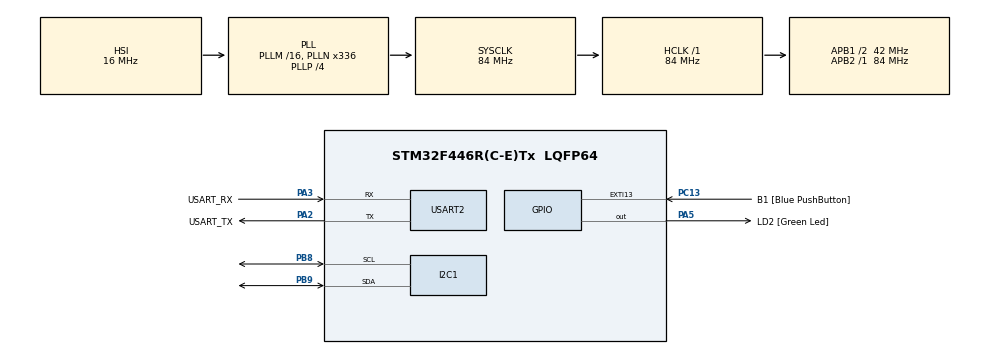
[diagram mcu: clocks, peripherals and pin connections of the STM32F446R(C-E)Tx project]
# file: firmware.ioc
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Mcu.Family=STM32F4
Mcu.Name=STM32F446R(C-E)Tx
Mcu.Package=LQFP64
NVIC.PriorityGroup=NVIC_PRIORITYGROUP_0
NVIC.TIM2_IRQn=true\:0\:0\:false\:false\:true\:true\:true\:true
PA13.GPIO_Label=TMS
PA13.Signal=SYS_JTMS-SWDIO
PA14.GPIO_Label=TCK
PA14.Signal=SYS_JTCK-SWCLK
PA2.GPIO_Label=USART_TX
PA2.Mode=Asynchronous
PA2.Signal=USART2_TX
PA3.GPIO_Label=USART_RX
PA3.Mode=Asynchronous
PA3.Signal=USART2_RX
PA5.GPIO_Label=LD2 [Green Led]
PA5.Signal=GPIO_Output
PB3.GPIO_Label=SWO
PB3.Signal=SYS_JTDO-SWO
PB8.Mode=I2C
PB8.Signal=I2C1_SCL
PB9.Mode=I2C
PB9.Signal=I2C1_SDA
PC13.GPIO_Label=B1 [Blue PushButton]
PC13.GPIO_ModeDefaultEXTI=GPIO_MODE_IT_FALLING
PC13.Signal=GPXTI13
PC14-OSC32_IN.Signal=RCC_OSC32_IN
PC15-OSC32_OUT.Signal=RCC_OSC32_OUT
PH0-OSC_IN.Signal=RCC_OSC_IN
PH1-OSC_OUT.Signal=RCC_OSC_OUT
ProjectManager.HeapSize=0x200
ProjectManager.StackSize=0x400
ProjectManager.TargetToolchain=STM32CubeIDE
RCC.AHBFreq_Value=84000000
RCC.APB1CLKDivider=RCC_HCLK_DIV2
RCC.APB1Freq_Value=42000000
RCC.APB1TimFreq_Value=84000000
RCC.APB2Freq_Value=84000000
RCC.APB2TimFreq_Value=84000000
RCC.CortexFreq_Value=84000000
RCC.FLatency-AdvancedSettings=FLASH_LATENCY_2
RCC.HCLKFreq_Value=84000000
RCC.HSE_VALUE=8000000
RCC.HSI_VALUE=16000000
RCC.LSE_VALUE=32768
RCC.PLLN=336
RCC.PLLP=RCC_PLLP_DIV4
RCC.SYSCLKFreq_VALUE=84000000
RCC.SYSCLKSource=RCC_SYSCLKSOURCE_PLLCLK
RCC.USBFreq_Value=168000000
RCC.VCOOutputFreq_Value=336000000
TIM2.Period=9999
TIM2.Prescaler=8399
USART2.VirtualMode=VM_ASYNC
VP_TIM2_VS_ClockSourceINT.Mode=Internal
board=NUCLEO-F446RE

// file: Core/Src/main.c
/* USER CODE BEGIN Header */
/**
  ******************************************************************************
  * @file           : main.c
  * @brief          : Main program body
  ******************************************************************************
  * @attention
  *
  * Copyright (c) 2026 STMicroelectronics.
  * All rights reserved.
  *
  * This software is licensed under terms that can be found in the LICENSE file
  * in the root directory of this software component.
  * If no LICENSE file comes with this software, it is provided AS-IS.
  *
  ******************************************************************************
  */
/* USER CODE END Header */
#include "main.h"

/* USER CODE BEGIN Includes */
#include "bmp280.h"
#include <stdio.h>
#include "aht20.h"
/* USER CODE END Includes */

I2C_HandleTypeDef hi2c1;

TIM_HandleTypeDef htim2;

UART_HandleTypeDef huart2;

/* USER CODE BEGIN PV */
volatile uint8_t tick_flag = 0;
uint32_t uptime = 0;
/* USER CODE END PV */

void SystemClock_Config(void);
static void MX_GPIO_Init(void);
static void MX_USART2_UART_Init(void);
static void MX_TIM2_Init(void);
static void MX_I2C1_Init(void);

/* USER CODE BEGIN 0 */
void uart_send_string(const char *s)
{
    while (*s != '\0')
    {
        while (!(USART2->SR & USART_SR_TXE))
        {
        }
        USART2->DR = *s;
        s++;
    }
}
/* USER CODE END 0 */

int main(void)
{

  /* MCU Configuration--------------------------------------------------------*/

  /* Reset of all peripherals, Initializes the Flash interface and the Systick. */
  HAL_Init();

  /* Configure the system clock */
  SystemClock_Config();

  /* Initialize all configured peripherals */
  MX_GPIO_Init();
  MX_USART2_UART_Init();
  MX_TIM2_Init();
  MX_I2C1_Init();
  /* USER CODE BEGIN 2 */
  /* USER CODE BEGIN 2 */
  HAL_TIM_Base_Start_IT(&htim2);

  if (BMP280_Init(&hi2c1) == HAL_OK) uart_send_string("BMP280 init OK\r\n");
  else uart_send_string("BMP280 init FAILED\r\n");

  if (AHT20_Init(&hi2c1) == HAL_OK) uart_send_string("AHT20 init OK\r\n");
  else uart_send_string("AHT20 init FAILED\r\n");
  /* USER CODE END 2 */

  /* Infinite loop */
  while (1)
  {

    /* USER CODE BEGIN 3 */
	  /* USER CODE BEGIN 3 */
	  if (tick_flag)
	  {
	      tick_flag = 0;
	      uptime++;
	      HAL_GPIO_TogglePin(GPIOA, GPIO_PIN_5);

	      int32_t rawT, rawP, at, ah;
	      char line[96];

	      if (BMP280_ReadRaw(&hi2c1, &rawT, &rawP) == HAL_OK &&
	          AHT20_Read(&hi2c1, &at, &ah) == HAL_OK)
	      {
	          int32_t bt = BMP280_CompensateTemp(rawT);          // must come before pressure
	          uint32_t pa = BMP280_CompensatePress(rawP) / 256;  // Pa

	          snprintf(line, sizeof(line),
	                   "T=%ld.%02ld C  H=%ld.%ld %%  P=%lu.%lu hPa  (BMP T=%ld.%02ld C)\r\n",
	                   (long)(at / 100), (long)(at % 100),
	                   (long)(ah / 100), (long)((ah % 100) / 10),
	                   (unsigned long)(pa / 100), (unsigned long)((pa % 100) / 10),
	                   (long)(bt / 100), (long)(bt % 100));
	      }
	      else
	      {
	          snprintf(line, sizeof(line), "sensor read FAILED\r\n");
	      }
	      uart_send_string(line);
	  }
	  /* USER CODE END 3 */

  }
  /* USER CODE END 3 */
}

void SystemClock_Config(void)
{
  RCC_OscInitTypeDef RCC_OscInitStruct = {0};
  RCC_ClkInitTypeDef RCC_ClkInitStruct = {0};

  /** Configure the main internal regulator output voltage
  */
  __HAL_RCC_PWR_CLK_ENABLE();
  __HAL_PWR_VOLTAGESCALING_CONFIG(PWR_REGULATOR_VOLTAGE_SCALE3);

  /** Initializes the RCC Oscillators according to the specified parameters
  * in the RCC_OscInitTypeDef structure.
  */
  RCC_OscInitStruct.OscillatorType = RCC_OSCILLATORTYPE_HSI;
  RCC_OscInitStruct.HSIState = RCC_HSI_ON;
  RCC_OscInitStruct.HSICalibrationValue = RCC_HSICALIBRATION_DEFAULT;
  RCC_OscInitStruct.PLL.PLLState = RCC_PLL_ON;
  RCC_OscInitStruct.PLL.PLLSource = RCC_PLLSOURCE_HSI;
  RCC_OscInitStruct.PLL.PLLM = 16;
  RCC_OscInitStruct.PLL.PLLN = 336;
  RCC_OscInitStruct.PLL.PLLP = RCC_PLLP_DIV4;
  RCC_OscInitStruct.PLL.PLLQ = 2;
  RCC_OscInitStruct.PLL.PLLR = 2;
  if (HAL_RCC_OscConfig(&RCC_OscInitStruct) != HAL_OK)
  {
    Error_Handler();
  }

  /** Initializes the CPU, AHB and APB buses clocks
  */
  RCC_ClkInitStruct.ClockType = RCC_CLOCKTYPE_HCLK|RCC_CLOCKTYPE_SYSCLK
                              |RCC_CLOCKTYPE_PCLK1|RCC_CLOCKTYPE_PCLK2;
  RCC_ClkInitStruct.SYSCLKSource = RCC_SYSCLKSOURCE_PLLCLK;
  RCC_ClkInitStruct.AHBCLKDivider = RCC_SYSCLK_DIV1;
  RCC_ClkInitStruct.APB1CLKDivider = RCC_HCLK_DIV2;
  RCC_ClkInitStruct.APB2CLKDivider = RCC_HCLK_DIV1;

  if (HAL_RCC_ClockConfig(&RCC_ClkInitStruct, FLASH_LATENCY_2) != HAL_OK)
  {
    Error_Handler();
  }
}

static void MX_I2C1_Init(void)
{

  hi2c1.Instance = I2C1;
  hi2c1.Init.ClockSpeed = 100000;
  hi2c1.Init.DutyCycle = I2C_DUTYCYCLE_2;
  hi2c1.Init.OwnAddress1 = 0;
  hi2c1.Init.AddressingMode = I2C_ADDRESSINGMODE_7BIT;
  hi2c1.Init.DualAddressMode = I2C_DUALADDRESS_DISABLE;
  hi2c1.Init.OwnAddress2 = 0;
  hi2c1.Init.GeneralCallMode = I2C_GENERALCALL_DISABLE;
  hi2c1.Init.NoStretchMode = I2C_NOSTRETCH_DISABLE;
  if (HAL_I2C_Init(&hi2c1) != HAL_OK)
  {
    Error_Handler();
  }

}

static void MX_TIM2_Init(void)
{

  TIM_ClockConfigTypeDef sClockSourceConfig = {0};
  TIM_MasterConfigTypeDef sMasterConfig = {0};

  htim2.Instance = TIM2;
  htim2.Init.Prescaler = 8399;
  htim2.Init.CounterMode = TIM_COUNTERMODE_UP;
  htim2.Init.Period = 9999;
  htim2.Init.ClockDivision = TIM_CLOCKDIVISION_DIV1;
  htim2.Init.AutoReloadPreload = TIM_AUTORELOAD_PRELOAD_DISABLE;
  if (HAL_TIM_Base_Init(&htim2) != HAL_OK)
  {
    Error_Handler();
  }
  sClockSourceConfig.ClockSource = TIM_CLOCKSOURCE_INTERNAL;
  if (HAL_TIM_ConfigClockSource(&htim2, &sClockSourceConfig) != HAL_OK)
  {
    Error_Handler();
  }
  sMasterConfig.MasterOutputTrigger = TIM_TRGO_RESET;
  sMasterConfig.MasterSlaveMode = TIM_MASTERSLAVEMODE_DISABLE;
  if (HAL_TIMEx_MasterConfigSynchronization(&htim2, &sMasterConfig) != HAL_OK)
  {
    Error_Handler();
  }

}

static void MX_USART2_UART_Init(void)
{

  huart2.Instance = USART2;
  huart2.Init.BaudRate = 115200;
  huart2.Init.WordLength = UART_WORDLENGTH_8B;
  huart2.Init.StopBits = UART_STOPBITS_1;
  huart2.Init.Parity = UART_PARITY_NONE;
  huart2.Init.Mode = UART_MODE_TX_RX;
  huart2.Init.HwFlowCtl = UART_HWCONTROL_NONE;
  huart2.Init.OverSampling = UART_OVERSAMPLING_16;
  if (HAL_UART_Init(&huart2) != HAL_OK)
  {
    Error_Handler();
  }

}

static void MX_GPIO_Init(void)
{
  GPIO_InitTypeDef GPIO_InitStruct = {0};

  /* GPIO Ports Clock Enable */
  __HAL_RCC_GPIOC_CLK_ENABLE();
  __HAL_RCC_GPIOH_CLK_ENABLE();
  __HAL_RCC_GPIOA_CLK_ENABLE();
  __HAL_RCC_GPIOB_CLK_ENABLE();

  /*Configure GPIO pin Output Level */
  HAL_GPIO_WritePin(LD2_GPIO_Port, LD2_Pin, GPIO_PIN_RESET);

  /*Configure GPIO pin : B1_Pin */
  GPIO_InitStruct.Pin = B1_Pin;
  GPIO_InitStruct.Mode = GPIO_MODE_IT_FALLING;
  GPIO_InitStruct.Pull = GPIO_NOPULL;
  HAL_GPIO_Init(B1_GPIO_Port, &GPIO_InitStruct);

  /*Configure GPIO pin : LD2_Pin */
  GPIO_InitStruct.Pin = LD2_Pin;
  GPIO_InitStruct.Mode = GPIO_MODE_OUTPUT_PP;
  GPIO_InitStruct.Pull = GPIO_NOPULL;
  GPIO_InitStruct.Speed = GPIO_SPEED_FREQ_LOW;
  HAL_GPIO_Init(LD2_GPIO_Port, &GPIO_InitStruct);

}

/* USER CODE BEGIN 4 */

void HAL_TIM_PeriodElapsedCallback(TIM_HandleTypeDef *htim)
{
    if (htim->Instance == TIM2)
    {
        tick_flag = 1;
    }
}

/* USER CODE END 4 */

void Error_Handler(void)
{
  __disable_irq();
  while (1)
  {
  }
}
